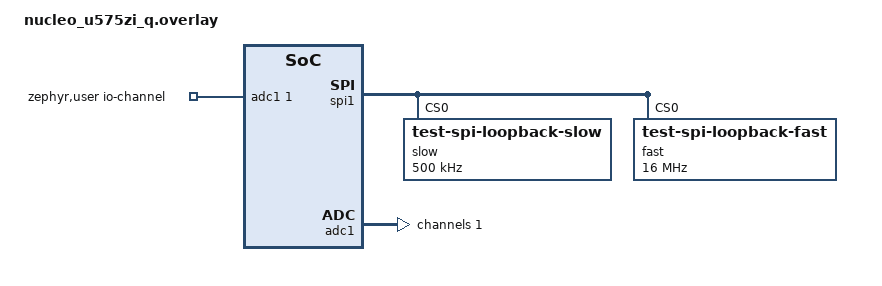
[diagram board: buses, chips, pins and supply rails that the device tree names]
/*
 * Copyright (c) 2022 STMicroelectronics
 *
 * SPDX-License-Identifier: Apache-2.0
 */

tst_dma0: &gpdma1 {
	status = "okay";
};

&rcc {
	apb2-prescaler = <2>;
};

&spi1 {
	dmas = <&gpdma1 0 7 STM32_DMA_PERIPH_TX>,
	       <&gpdma1 1 6 STM32_DMA_PERIPH_RX>;
	dma-names = "tx", "rx";
	slow@0 {
		compatible = "test-spi-loopback-slow";
		reg = <0>;
		spi-max-frequency = <500000>;
	};
	fast@0 {
		compatible = "test-spi-loopback-fast";
		reg = <0>;
		spi-max-frequency = <16000000>;
	};
};

/ {
	zephyr,user {
		io-channels = <&adc1 1>;
	};
};

&adc1 {
	dmas = <&gpdma1 0 0 (STM32_DMA_PERIPH_RX | STM32_DMA_MEM_16BITS | STM32_DMA_PERIPH_16BITS)>;
	dma-names = "gpdma";
	#address-cells = <1>;
	#size-cells = <0>;
	channel@1 {
		reg = <1>;
		zephyr,gain = "ADC_GAIN_1";
		zephyr,reference = "ADC_REF_INTERNAL";
		zephyr,acquisition-time = <ADC_ACQ_TIME_DEFAULT>;
		zephyr,resolution = <12>;
	};
};

&gpdma1 {
	status = "okay";
};
